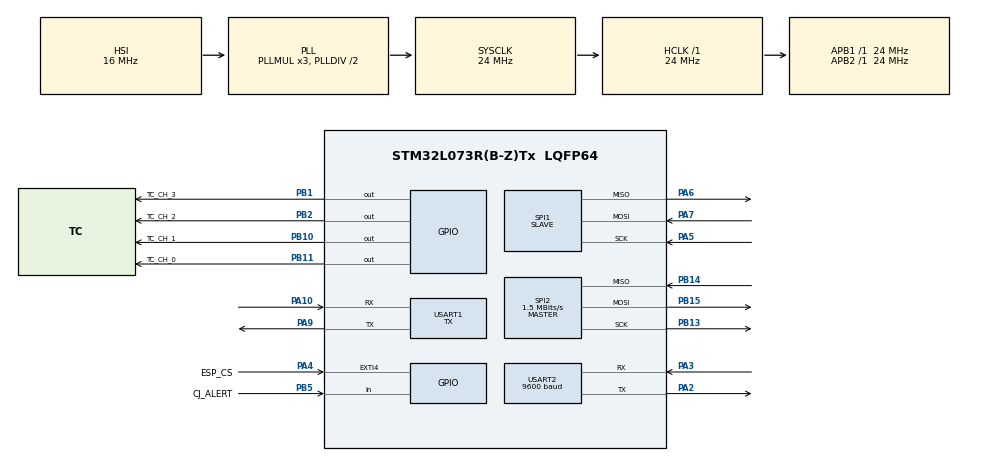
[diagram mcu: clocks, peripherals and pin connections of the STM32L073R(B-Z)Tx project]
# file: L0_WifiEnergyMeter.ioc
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Dma.Request0=USART1_TX
Dma.Request1=USART2_RX
Dma.Request2=SPI1_TX
Dma.Request3=SPI1_RX
Dma.SPI1_RX.3.Direction=DMA_PERIPH_TO_MEMORY
Dma.SPI1_RX.3.Instance=DMA1_Channel2
Dma.SPI1_RX.3.MemDataAlignment=DMA_MDATAALIGN_BYTE
Dma.SPI1_RX.3.MemInc=DMA_MINC_ENABLE
Dma.SPI1_RX.3.Mode=DMA_CIRCULAR
Dma.SPI1_RX.3.PeriphDataAlignment=DMA_PDATAALIGN_BYTE
Dma.SPI1_RX.3.PeriphInc=DMA_PINC_DISABLE
Dma.SPI1_RX.3.Priority=DMA_PRIORITY_HIGH
Dma.SPI1_TX.2.Direction=DMA_MEMORY_TO_PERIPH
Dma.SPI1_TX.2.Instance=DMA1_Channel3
Dma.SPI1_TX.2.MemDataAlignment=DMA_MDATAALIGN_BYTE
Dma.SPI1_TX.2.MemInc=DMA_MINC_ENABLE
Dma.SPI1_TX.2.Mode=DMA_NORMAL
Dma.SPI1_TX.2.PeriphDataAlignment=DMA_PDATAALIGN_BYTE
Dma.SPI1_TX.2.PeriphInc=DMA_PINC_DISABLE
Dma.SPI1_TX.2.Priority=DMA_PRIORITY_MEDIUM
Dma.USART1_TX.0.Direction=DMA_MEMORY_TO_PERIPH
Dma.USART1_TX.0.Instance=DMA1_Channel4
Dma.USART1_TX.0.MemDataAlignment=DMA_MDATAALIGN_BYTE
Dma.USART1_TX.0.MemInc=DMA_MINC_ENABLE
Dma.USART1_TX.0.Mode=DMA_NORMAL
Dma.USART1_TX.0.PeriphDataAlignment=DMA_PDATAALIGN_BYTE
Dma.USART1_TX.0.PeriphInc=DMA_PINC_DISABLE
Dma.USART1_TX.0.Priority=DMA_PRIORITY_LOW
Dma.USART2_RX.1.Direction=DMA_PERIPH_TO_MEMORY
Dma.USART2_RX.1.Instance=DMA1_Channel5
Dma.USART2_RX.1.MemDataAlignment=DMA_MDATAALIGN_BYTE
Dma.USART2_RX.1.MemInc=DMA_MINC_ENABLE
Dma.USART2_RX.1.Mode=DMA_CIRCULAR
Dma.USART2_RX.1.PeriphDataAlignment=DMA_PDATAALIGN_BYTE
Dma.USART2_RX.1.PeriphInc=DMA_PINC_DISABLE
Dma.USART2_RX.1.Priority=DMA_PRIORITY_VERY_HIGH
Mcu.Family=STM32L0
Mcu.Name=STM32L073R(B-Z)Tx
Mcu.Package=LQFP64
NVIC.DMA1_Channel2_3_IRQn=true\:0\:0\:false\:false\:true\:false\:true
NVIC.DMA1_Channel4_5_6_7_IRQn=true\:0\:0\:false\:false\:true\:false\:true
NVIC.EXTI4_15_IRQn=true\:0\:0\:false\:false\:true\:true\:true
NVIC.SPI1_IRQn=true\:0\:0\:false\:false\:true\:true\:true
NVIC.SPI2_IRQn=true\:0\:0\:false\:false\:true\:true\:true
NVIC.USART1_IRQn=true\:0\:0\:false\:false\:true\:true\:true
NVIC.USART2_IRQn=true\:0\:0\:false\:false\:true\:true\:true
PA10.Mode=Asynchronous
PA10.Signal=USART1_RX
PA13.Mode=Serial_Wire
PA13.Signal=SYS_SWDIO
PA14.Mode=Serial_Wire
PA14.Signal=SYS_SWCLK
PA2.Mode=Asynchronous
PA2.Signal=USART2_TX
PA3.Mode=Asynchronous
PA3.Signal=USART2_RX
PA4.GPIO_Label=ESP_CS
PA4.GPIO_ModeDefaultEXTI=GPIO_MODE_IT_FALLING
PA4.GPIO_PuPd=GPIO_NOPULL
PA4.Signal=GPXTI4
PA5.Mode=Full_Duplex_Slave
PA5.Signal=SPI1_SCK
PA6.Mode=Full_Duplex_Slave
PA6.Signal=SPI1_MISO
PA7.Mode=Full_Duplex_Slave
PA7.Signal=SPI1_MOSI
PA9.Mode=Asynchronous
PA9.Signal=USART1_TX
PB1.GPIO_Label=TC_CH_3
PB1.GPIO_Speed=GPIO_SPEED_FREQ_HIGH
PB1.PinState=GPIO_PIN_SET
PB1.Signal=GPIO_Output
PB10.GPIO_Label=TC_CH_1
PB10.GPIO_Speed=GPIO_SPEED_FREQ_HIGH
PB10.PinState=GPIO_PIN_SET
PB10.Signal=GPIO_Output
PB11.GPIO_Label=TC_CH_0
PB11.GPIO_Speed=GPIO_SPEED_FREQ_HIGH
PB11.PinState=GPIO_PIN_SET
PB11.Signal=GPIO_Output
PB13.Mode=Full_Duplex_Master
PB13.Signal=SPI2_SCK
PB14.Mode=Full_Duplex_Master
PB14.Signal=SPI2_MISO
PB15.Mode=Full_Duplex_Master
PB15.Signal=SPI2_MOSI
PB2.GPIO_Label=TC_CH_2
PB2.GPIO_Speed=GPIO_SPEED_FREQ_HIGH
PB2.PinState=GPIO_PIN_SET
PB2.Signal=GPIO_Output
PB5.GPIO_Label=CJ_ALERT
PB5.Signal=GPIO_Input
ProjectManager.HeapSize=0x200
ProjectManager.StackSize=0x400
ProjectManager.TargetToolchain=STM32CubeIDE
RCC.AHBFreq_Value=24000000
RCC.APB1Freq_Value=24000000
RCC.APB1TimFreq_Value=24000000
RCC.APB2Freq_Value=24000000
RCC.APB2TimFreq_Value=24000000
RCC.HCLKFreq_Value=24000000
RCC.HSE_VALUE=8000000
RCC.HSI16_VALUE=16000000
RCC.HSI48_VALUE=48000000
RCC.HSI_VALUE=16000000
RCC.LSE_VALUE=32768
RCC.MSI_VALUE=2097000
RCC.SYSCLKFreq_VALUE=24000000
RCC.SYSCLKSource=RCC_SYSCLKSOURCE_PLLCLK
RCC.VCOOutputFreq_Value=48000000
SPI1.Direction=SPI_DIRECTION_2LINES
SPI1.Mode=SPI_MODE_SLAVE
SPI1.VirtualType=VM_SLAVE
SPI2.BaudRatePrescaler=SPI_BAUDRATEPRESCALER_16
SPI2.CLKPhase=SPI_PHASE_2EDGE
SPI2.CLKPolarity=SPI_POLARITY_HIGH
SPI2.CalculateBaudRate=1.5 MBits/s
SPI2.Direction=SPI_DIRECTION_2LINES
SPI2.Mode=SPI_MODE_MASTER
SPI2.VirtualType=VM_MASTER
USART1.Mode=MODE_TX
USART1.VirtualMode-Asynchronous=VM_ASYNC
USART2.BaudRate=9600
USART2.VirtualMode-Asynchronous=VM_ASYNC
board=custom

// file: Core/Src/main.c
/* USER CODE BEGIN Header */
/**
  ******************************************************************************
  * @file           : main.c
  * @brief          : Main program body
  ******************************************************************************
  * @attention
  *
  * <h2><center>&copy; Copyright (c) 2021 STMicroelectronics.
  * All rights reserved.</center></h2>
  *
  * This software component is licensed by ST under BSD 3-Clause license,
  * the "License"; You may not use this file except in compliance with the
  * License. You may obtain a copy of the License at:
  *                        opensource.org/licenses/BSD-3-Clause
  *
  ******************************************************************************
  */
/* USER CODE END Header */
#include "main.h"

/* USER CODE BEGIN PM */
#define APPLICATION_VERS	"1.0.1"
/* USER CODE END PM */

SPI_HandleTypeDef hspi1;
SPI_HandleTypeDef hspi2;
DMA_HandleTypeDef hdma_spi1_tx;
DMA_HandleTypeDef hdma_spi1_rx;

UART_HandleTypeDef huart1;
UART_HandleTypeDef huart2;
DMA_HandleTypeDef hdma_usart1_tx;
DMA_HandleTypeDef hdma_usart2_rx;

/* USER CODE BEGIN PV */
uint8_t SPI_RxDMABuffer[512] = { 0 };
uint8_t SPI_TxDMABuffer[512] = { 0 };
uint8_t spiRxBuffer[512] = { 0 };
extern uint8_t spiTxBuffer[512];
uint8_t espMsgRcvd = 0;

const tAppInfo appinfo __attribute__((section (".app_info"))) = {.length = 0x00, .version = APPLICATION_VERS};
const uint8_t appsha[20] __attribute__((section (".app_sha"))) = {0x0};
volatile uint32_t VectorTable[64] __attribute__((section(".RAMVectorTable")));
volatile uint32_t iapMailbox[2] __attribute__((section(".IAPMailbox")));
/* USER CODE END PV */

void SystemClock_Config(void);
static void MX_GPIO_Init(void);
static void MX_DMA_Init(void);
static void MX_USART1_UART_Init(void);
static void MX_USART2_UART_Init(void);
static void MX_SPI2_Init(void);
static void MX_SPI1_Init(void);
/* USER CODE BEGIN PFP */

extern void bus_process(void);
/* USER CODE END PFP */

/* USER CODE BEGIN 0 */
uint8_t csTriggered = 0;
void HAL_GPIO_EXTI_Callback(uint16_t GPIO_Pin) {

	if (GPIO_Pin == GPIO_PIN_4) {
		//__HAL_SPI_ENABLE(&hspi1);
		dbg_printf("GPIO\r\n");
		csTriggered = 1;
	}
}

void HAL_SPI_RxCpltCallback(SPI_HandleTypeDef *hspi) {
//	dbg_printf("RX Main ALL\r\n");

	/*if (csTriggered)
	{*/
		memcpy(spiRxBuffer, SPI_RxDMABuffer, 512);
		espMsgRcvd = 1;
		bus_process();
		memset(SPI_RxDMABuffer, 0, 512);
		csTriggered = 0;
	//}

}

/* USER CODE END 0 */

int main(void)
{
  /* USER CODE BEGIN 1 */
	bl_remapMemToSRAM();

	iapMailbox[0] = 0x00;
	iapMailbox[1] = 0x00;
  /* USER CODE END 1 */

  /* MCU Configuration--------------------------------------------------------*/

  /* Reset of all peripherals, Initializes the Flash interface and the Systick. */
  HAL_Init();

  /* Configure the system clock */
  SystemClock_Config();

  /* Initialize all configured peripherals */
  MX_GPIO_Init();
  MX_DMA_Init();
  MX_USART1_UART_Init();
  MX_USART2_UART_Init();
  MX_SPI2_Init();
  MX_SPI1_Init();
  /* USER CODE BEGIN 2 */
  debug_init();
  conf_init();
  stpm_init();

  dbg_printf("STM32 Application Firmware Initialization\r\n");
  int extcjr = EXTCJ_init();
  dbg_printf("extcj : %d\r\n", extcjr);
  tc_init(extcjr);

  HAL_SPI_Receive_DMA(&hspi1, SPI_RxDMABuffer, 512);
  //HAL_SPI_Transmit_DMA(&hspi1, spiTxBuffer, 512);

  //__HAL_SPI_ENABLE((&hspi1));
  SET_BIT(hspi1.Instance->CR2, SPI_CR2_TXDMAEN);
  CLEAR_BIT(hspi1.Instance->CR1, SPI_CR1_SSM);
  CLEAR_BIT(hspi1.Instance->CR1, SPI_CR1_SSI);

  HAL_DMA_Start(&hdma_spi1_tx, (uint32_t)&spiTxBuffer[0], (uint32_t)&hspi1.Instance->DR, 512);

  //HAL_Delay(10000);
  /* USER CODE END 2 */

  /* Infinite loop */
  while (1)
  {

    /* USER CODE BEGIN 3 */
	  /*dbg_printf("Test\r\n");
	  HAL_Delay(1000);*/
	  stpm_Process();
	  max31856_process();
	  bus_comm_process();

  }
  /* USER CODE END 3 */
}

void SystemClock_Config(void)
{
  RCC_OscInitTypeDef RCC_OscInitStruct = {0};
  RCC_ClkInitTypeDef RCC_ClkInitStruct = {0};
  RCC_PeriphCLKInitTypeDef PeriphClkInit = {0};

  /** Configure the main internal regulator output voltage
  */
  __HAL_PWR_VOLTAGESCALING_CONFIG(PWR_REGULATOR_VOLTAGE_SCALE1);
  /** Initializes the RCC Oscillators according to the specified parameters
  * in the RCC_OscInitTypeDef structure.
  */
  RCC_OscInitStruct.OscillatorType = RCC_OSCILLATORTYPE_HSI;
  RCC_OscInitStruct.HSIState = RCC_HSI_ON;
  RCC_OscInitStruct.HSICalibrationValue = RCC_HSICALIBRATION_DEFAULT;
  RCC_OscInitStruct.PLL.PLLState = RCC_PLL_ON;
  RCC_OscInitStruct.PLL.PLLSource = RCC_PLLSOURCE_HSI;
  RCC_OscInitStruct.PLL.PLLMUL = RCC_PLLMUL_3;
  RCC_OscInitStruct.PLL.PLLDIV = RCC_PLLDIV_2;
  if (HAL_RCC_OscConfig(&RCC_OscInitStruct) != HAL_OK)
  {
    Error_Handler();
  }
  /** Initializes the CPU, AHB and APB buses clocks
  */
  RCC_ClkInitStruct.ClockType = RCC_CLOCKTYPE_HCLK|RCC_CLOCKTYPE_SYSCLK
                              |RCC_CLOCKTYPE_PCLK1|RCC_CLOCKTYPE_PCLK2;
  RCC_ClkInitStruct.SYSCLKSource = RCC_SYSCLKSOURCE_PLLCLK;
  RCC_ClkInitStruct.AHBCLKDivider = RCC_SYSCLK_DIV1;
  RCC_ClkInitStruct.APB1CLKDivider = RCC_HCLK_DIV1;
  RCC_ClkInitStruct.APB2CLKDivider = RCC_HCLK_DIV1;

  if (HAL_RCC_ClockConfig(&RCC_ClkInitStruct, FLASH_LATENCY_1) != HAL_OK)
  {
    Error_Handler();
  }
  PeriphClkInit.PeriphClockSelection = RCC_PERIPHCLK_USART1|RCC_PERIPHCLK_USART2;
  PeriphClkInit.Usart1ClockSelection = RCC_USART1CLKSOURCE_PCLK2;
  PeriphClkInit.Usart2ClockSelection = RCC_USART2CLKSOURCE_PCLK1;
  if (HAL_RCCEx_PeriphCLKConfig(&PeriphClkInit) != HAL_OK)
  {
    Error_Handler();
  }
}

static void MX_SPI1_Init(void)
{

  /* SPI1 parameter configuration*/
  hspi1.Instance = SPI1;
  hspi1.Init.Mode = SPI_MODE_SLAVE;
  hspi1.Init.Direction = SPI_DIRECTION_2LINES;
  hspi1.Init.DataSize = SPI_DATASIZE_8BIT;
  hspi1.Init.CLKPolarity = SPI_POLARITY_LOW;
  hspi1.Init.CLKPhase = SPI_PHASE_1EDGE;
  hspi1.Init.NSS = SPI_NSS_HARD_INPUT;
  hspi1.Init.FirstBit = SPI_FIRSTBIT_MSB;
  hspi1.Init.TIMode = SPI_TIMODE_DISABLE;
  hspi1.Init.CRCCalculation = SPI_CRCCALCULATION_DISABLE;
  hspi1.Init.CRCPolynomial = 7;
  if (HAL_SPI_Init(&hspi1) != HAL_OK)
  {
    Error_Handler();
  }

}

static void MX_SPI2_Init(void)
{

  /* SPI2 parameter configuration*/
  hspi2.Instance = SPI2;
  hspi2.Init.Mode = SPI_MODE_MASTER;
  hspi2.Init.Direction = SPI_DIRECTION_2LINES;
  hspi2.Init.DataSize = SPI_DATASIZE_8BIT;
  hspi2.Init.CLKPolarity = SPI_POLARITY_HIGH;
  hspi2.Init.CLKPhase = SPI_PHASE_2EDGE;
  hspi2.Init.NSS = SPI_NSS_SOFT;
  hspi2.Init.BaudRatePrescaler = SPI_BAUDRATEPRESCALER_16;
  hspi2.Init.FirstBit = SPI_FIRSTBIT_MSB;
  hspi2.Init.TIMode = SPI_TIMODE_DISABLE;
  hspi2.Init.CRCCalculation = SPI_CRCCALCULATION_DISABLE;
  hspi2.Init.CRCPolynomial = 7;
  if (HAL_SPI_Init(&hspi2) != HAL_OK)
  {
    Error_Handler();
  }

}

static void MX_USART1_UART_Init(void)
{

  huart1.Instance = USART1;
  huart1.Init.BaudRate = 115200;
  huart1.Init.WordLength = UART_WORDLENGTH_8B;
  huart1.Init.StopBits = UART_STOPBITS_1;
  huart1.Init.Parity = UART_PARITY_NONE;
  huart1.Init.Mode = UART_MODE_TX;
  huart1.Init.HwFlowCtl = UART_HWCONTROL_NONE;
  huart1.Init.OverSampling = UART_OVERSAMPLING_16;
  huart1.Init.OneBitSampling = UART_ONE_BIT_SAMPLE_DISABLE;
  huart1.AdvancedInit.AdvFeatureInit = UART_ADVFEATURE_NO_INIT;
  if (HAL_UART_Init(&huart1) != HAL_OK)
  {
    Error_Handler();
  }

}

static void MX_USART2_UART_Init(void)
{

  huart2.Instance = USART2;
  huart2.Init.BaudRate = 9600;
  huart2.Init.WordLength = UART_WORDLENGTH_8B;
  huart2.Init.StopBits = UART_STOPBITS_1;
  huart2.Init.Parity = UART_PARITY_NONE;
  huart2.Init.Mode = UART_MODE_TX_RX;
  huart2.Init.HwFlowCtl = UART_HWCONTROL_NONE;
  huart2.Init.OverSampling = UART_OVERSAMPLING_16;
  huart2.Init.OneBitSampling = UART_ONE_BIT_SAMPLE_DISABLE;
  huart2.AdvancedInit.AdvFeatureInit = UART_ADVFEATURE_NO_INIT;
  if (HAL_UART_Init(&huart2) != HAL_OK)
  {
    Error_Handler();
  }

}

static void MX_DMA_Init(void)
{

  /* DMA controller clock enable */
  __HAL_RCC_DMA1_CLK_ENABLE();

  /* DMA interrupt init */
  /* DMA1_Channel2_3_IRQn interrupt configuration */
  HAL_NVIC_SetPriority(DMA1_Channel2_3_IRQn, 0, 0);
  HAL_NVIC_EnableIRQ(DMA1_Channel2_3_IRQn);
  /* DMA1_Channel4_5_6_7_IRQn interrupt configuration */
  HAL_NVIC_SetPriority(DMA1_Channel4_5_6_7_IRQn, 0, 0);
  HAL_NVIC_EnableIRQ(DMA1_Channel4_5_6_7_IRQn);

}

static void MX_GPIO_Init(void)
{
  GPIO_InitTypeDef GPIO_InitStruct = {0};

  /* GPIO Ports Clock Enable */
  __HAL_RCC_GPIOA_CLK_ENABLE();
  __HAL_RCC_GPIOB_CLK_ENABLE();

  /*Configure GPIO pin Output Level */
  HAL_GPIO_WritePin(GPIOB, TC_CH_3_Pin|TC_CH_2_Pin|TC_CH_1_Pin|TC_CH_0_Pin, GPIO_PIN_SET);

  /*Configure GPIO pins : TC_CH_3_Pin TC_CH_2_Pin TC_CH_1_Pin TC_CH_0_Pin */
  GPIO_InitStruct.Pin = TC_CH_3_Pin|TC_CH_2_Pin|TC_CH_1_Pin|TC_CH_0_Pin;
  GPIO_InitStruct.Mode = GPIO_MODE_OUTPUT_PP;
  GPIO_InitStruct.Pull = GPIO_NOPULL;
  GPIO_InitStruct.Speed = GPIO_SPEED_FREQ_HIGH;
  HAL_GPIO_Init(GPIOB, &GPIO_InitStruct);

  /*Configure GPIO pin : CJ_ALERT_Pin */
  GPIO_InitStruct.Pin = CJ_ALERT_Pin;
  GPIO_InitStruct.Mode = GPIO_MODE_INPUT;
  GPIO_InitStruct.Pull = GPIO_NOPULL;
  HAL_GPIO_Init(CJ_ALERT_GPIO_Port, &GPIO_InitStruct);

}

void Error_Handler(void)
{
  __disable_irq();
  while (1)
  {
  }
}

/************************ (C) COPYRIGHT STMicroelectronics *****END OF FILE****/
